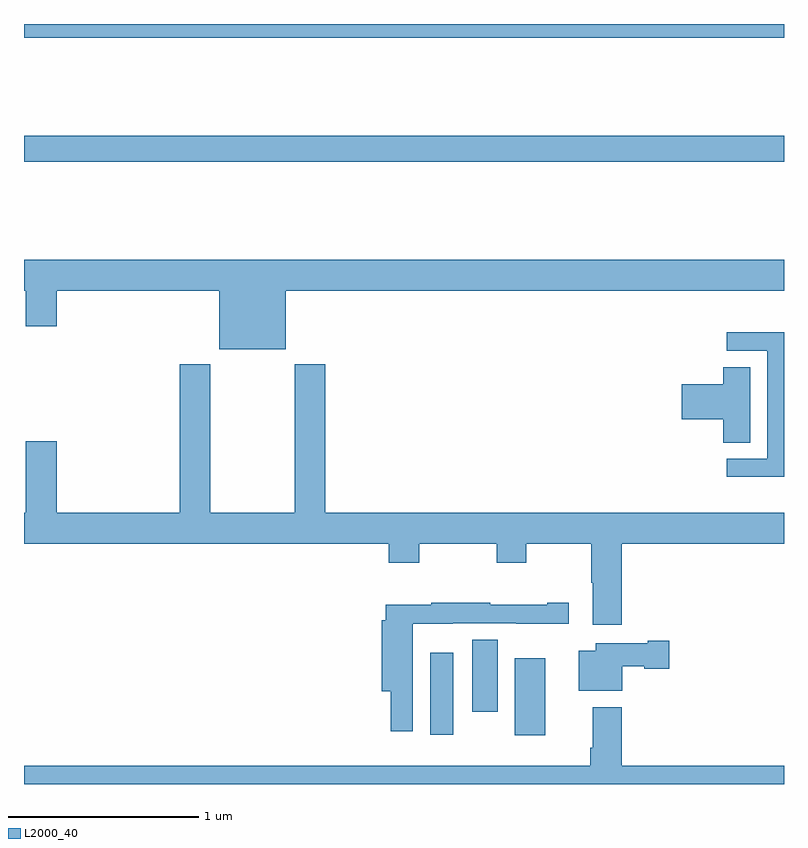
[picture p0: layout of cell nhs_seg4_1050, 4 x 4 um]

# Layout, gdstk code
import gdstk
lib = gdstk.Library(unit=1e-6, precision=1e-09)
def R(c, l, rs):  # rectangles x0, y0, x1, y1
    for r in rs: c.add(gdstk.rectangle(r[:2], r[2:], *l))
def P(c, l, *ps):  # polygons
    for p in ps: c.add(gdstk.Polygon(p, *l))
L2000_40 = (2000, 40)

nhs_seg4_1050 = lib.new_cell('nhs_seg4_1050')
R(nhs_seg4_1050, L2000_40, [(167.582,785.157,167.743,785.563), (167.138,785.16,167.26,785.59), (167.36,785.28,167.494,785.66), (165,788.176,169,788.312), (165,788.828,169,788.9)])
P(nhs_seg4_1050, L2000_40, [(166.378,787.496),(169,787.496),(169,787.66),(165,787.66),(165,787.496),(165.008,787.496),(165.008,787.308),(165.172,787.308),(165.172,787.496),(166.028,787.496),(166.028,787.187),(166.378,787.187)],
  [(169,787.278),(168.699,787.278),(168.699,787.179),(168.912,787.179),(168.912,786.612),(168.699,786.612),(168.699,786.516),(169,786.516)],
  [(168.146,786.164),(169,786.164),(169,786.328),(166.586,786.328),(166.586,787.108),(166.426,787.108),(166.426,786.328),(165.981,786.328),(165.981,787.108),(165.821,787.108),(165.821,786.328),(165.172,786.328),(165.172,786.703),(165.008,786.703),(165.008,786.328),(165,786.328),(165,786.164),(166.919,786.164),(166.919,786.065),(167.079,786.065),(167.079,786.164),(167.488,786.164),(167.488,786.065),(167.643,786.065),(167.643,786.164),(167.986,786.164),(167.986,785.96),(167.993,785.96),(167.993,785.739),(168.146,785.739)],
  [(168.823,787.094),(168.68,787.094),(168.68,787.004),(168.462,787.004),(168.462,786.821),(168.68,786.821),(168.68,786.697),(168.823,786.697)],
  [(167.046,785.744),(167.256,785.744),(167.256,785.745),(167.59,785.745),(167.59,785.744),(167.866,785.744),(167.866,785.854),(167.753,785.854),(167.753,785.844),(167.453,785.844),(167.453,785.854),(167.143,785.854),(167.143,785.844),(166.904,785.844),(166.904,785.763),(166.883,785.763),(166.883,785.387),(166.93,785.387),(166.93,785.178),(167.046,785.178)],
  [(168.148,785.519),(168.264,785.519),(168.264,785.507),(168.397,785.507),(168.397,785.654),(168.284,785.654),(168.284,785.641),(168.008,785.641),(168.008,785.602),(167.921,785.602),(167.921,785.39),(168.148,785.39)],
  [(169,784.996),(168.146,784.996),(168.146,785.305),(167.993,785.305),(167.993,785.092),(167.981,785.092),(167.981,784.996),(165,784.996),(165,784.9),(169,784.9)])

lib.write_gds('nhs_seg4_1050.gds')
